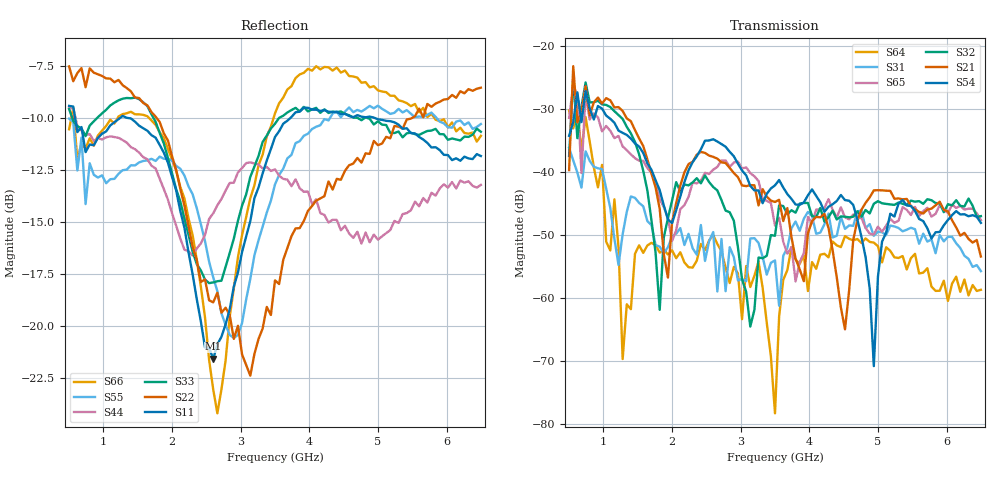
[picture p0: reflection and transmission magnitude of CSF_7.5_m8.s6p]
!Keysight Technologies,M9804A,MY58100912,A.14.10.03
!Date: Thursday, April 27, 2023 10:28:33
!Correction: S11(C  6-Port  )
!S12(C  6-Port  )
!S13(C  6-Port  )
!S14(C  6-Port  )
!S15(C  6-Port  )
!S16(C  6-Port  )
!S21(C  6-Port  )
!S22(C  6-Port  )
!S23(C  6-Port  )
!S24(C  6-Port  )
!S25(C  6-Port  )
!S26(C  6-Port  )
!S31(C  6-Port  )
!S32(C  6-Port  )
!S33(C  6-Port  )
!S34(C  6-Port  )
!S35(C  6-Port  )
!S36(C  6-Port  )
!S41(C  6-Port  )
!S42(C  6-Port  )
!S43(C  6-Port  )
!S44(C  6-Port  )
!S45(C  6-Port  )
!S46(C  6-Port  )
!S51(C  6-Port  )
!S52(C  6-Port  )
!S53(C  6-Port  )
!S54(C  6-Port  )
!S55(C  6-Port  )
!S56(C  6-Port  )
!S61(C  6-Port  )
!S62(C  6-Port  )
!S63(C  6-Port  )
!S64(C  6-Port  )
!S65(C  6-Port  )
!S66(C  6-Port  )
!S6P File: Measurement: :
# Hz S  RI  R 50
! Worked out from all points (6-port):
!   101 points, 500 MHz to 6.5 GHz, reference 50 ohm
!   strongest paths, dB at 500 MHz, 2 GHz, 3.5 GHz, 5 GHz, 6.5 GHz:
!     S54: -34.3, -48.1, -42.1, -56.6, -48.1
!     S21: -39.7, -47.9, -44.8, -42.9, -53.4
!     S32: -37.5, -44.6, -50.1, -44.7, -47.0
!     S65: -31.5, -50.9, -48.5, -48.7, -47.6
!     S31: -36.2, -50.3, -54.0, -49.5, -55.7
!     S64: -30.3, -52.4, -78.3, -51.8, -58.7
!   lowest |S11| = -21.6 dB at 2.6 GHz (marker M1), VSWR 1.18, Z = 42.5 + j2.06 ohm
!   |S11| at or under -10 dB: 587.7 MHz to 1.235 GHz (647.1 MHz wide, 71 % of centre); 1.392 GHz to 3.718 GHz (2.326 GHz wide, 91 % of centre); 4.967 GHz to end of sweep
